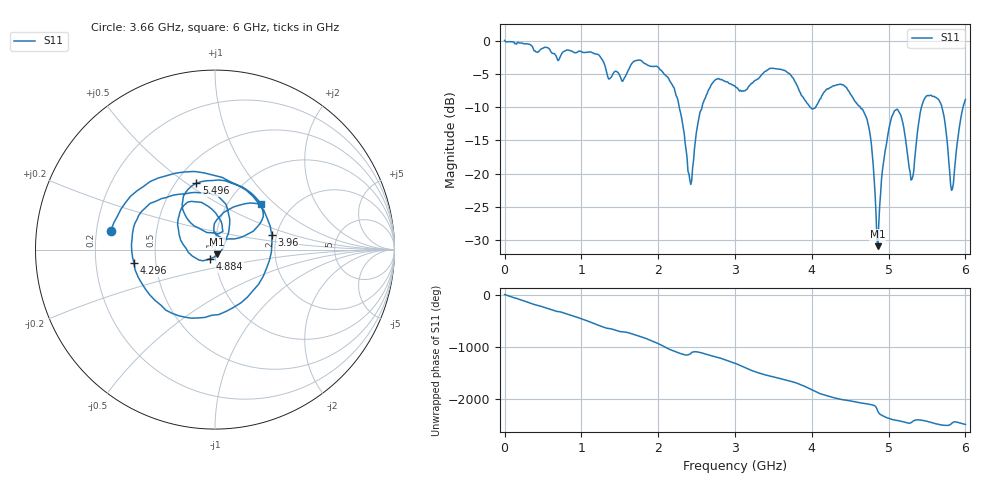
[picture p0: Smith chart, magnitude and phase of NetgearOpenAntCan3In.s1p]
# Hz S RI R 50
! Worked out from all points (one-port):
!   501 points, 1 MHz to 6 GHz, reference 50 ohm
!   lowest |S11| = -30.9 dB at 4.86 GHz (marker M1), VSWR 1.06, Z = 51.1 - j2.65 ohm
!   |S11| at or under -10 dB: 2.275 GHz to 2.572 GHz (297 MHz wide, 12.3 % of centre); 4.632 GHz to 5.428 GHz (796.1 MHz wide, 15.8 % of centre); 5.694 GHz to 5.97 GHz (275.8 MHz wide, 4.73 % of centre)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
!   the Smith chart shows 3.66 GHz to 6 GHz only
!   S11 on the Smith chart (normalised r, x): 3.66 GHz: 0.26, +0.08; 3.96 GHz: 1.89, +0.34; 4.296 GHz: 0.37, -0.07; 4.884 GHz: 0.94, -0.10; 5.496 GHz: 0.63, +0.55; 6 GHz: 1.41, +0.82
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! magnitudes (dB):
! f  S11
! 1 MHz  0.0
! 756.9 MHz  -1.8
! 1.201 GHz  -2.0
! 1.501 GHz  -5.3
! 1.981 GHz  -3.9
! 2.257 GHz  -8.9
! 2.413 GHz  -21.0
! 2.533 GHz  -11.5
! 2.665 GHz  -7.3
! 3.001 GHz  -6.8
! 3.66 GHz  -4.6
! 3.756 GHz  -5.6
! 3.96 GHz  -9.7
! 4.296 GHz  -6.8
! 4.5 GHz  -8.0
! 4.74 GHz  -12.9
! 4.86 GHz  -30.9
! 4.884 GHz  -24.8
! 4.944 GHz  -17.6
! 5.064 GHz  -10.9
! 5.16 GHz  -11.2
! 5.256 GHz  -18.0
! 5.316 GHz  -20.4
! 5.412 GHz  -10.8
! 5.496 GHz  -8.3
! 5.7 GHz  -10.3
! 5.82 GHz  -22.5
! 6 GHz  -8.9
